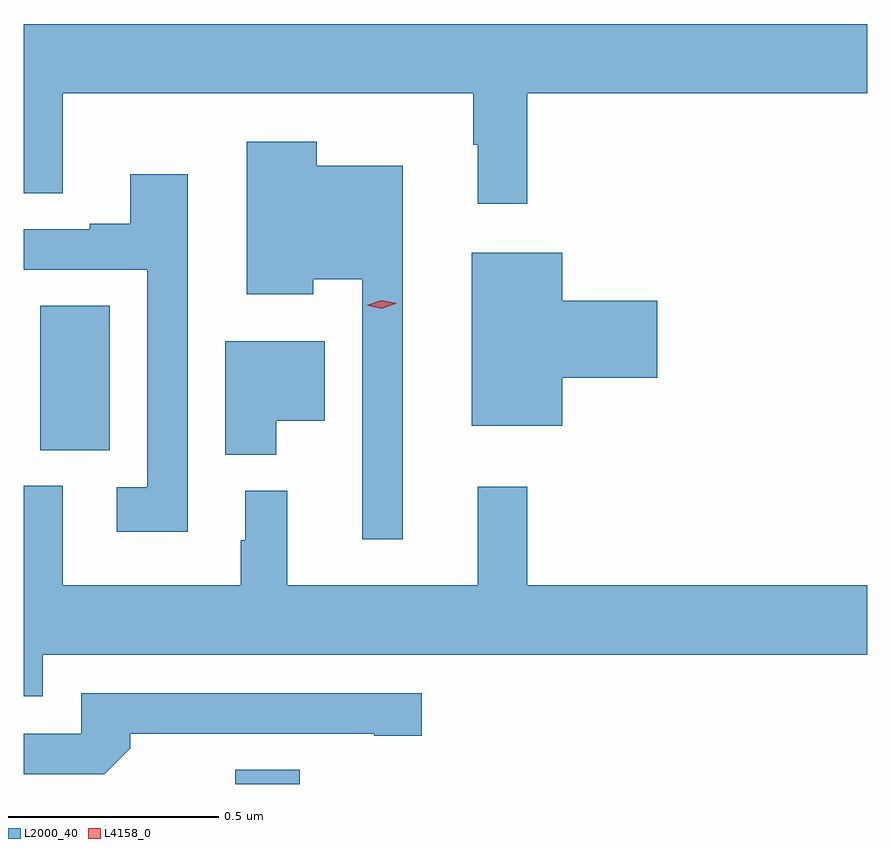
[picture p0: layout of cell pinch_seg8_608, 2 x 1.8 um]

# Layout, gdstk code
import gdstk
lib = gdstk.Library(unit=1e-6, precision=1e-09)
def R(c, l, rs):  # rectangles x0, y0, x1, y1
    for r in rs: c.add(gdstk.rectangle(r[:2], r[2:], *l))
def P(c, l, *ps):  # polygons
    for p in ps: c.add(gdstk.Polygon(p, *l))
L2000_40 = (2000, 40)
L4158_0 = (4158, 0)

pinch_seg8_608 = lib.new_cell('pinch_seg8_608')
R(pinch_seg8_608, L2000_40, [(118.76,1085.557,118.913,1085.591), (118.298,1086.349,118.462,1086.692)])
P(pinch_seg8_608, L2000_40, [(119.453,1087.196),(120.259,1087.196),(120.259,1087.36),(118.259,1087.36),(118.259,1086.958),(118.351,1086.958),(118.351,1087.196),(119.325,1087.196),(119.325,1087.073),(119.336,1087.073),(119.336,1086.933),(119.453,1086.933)],
  [(119.158,1087.024),(118.953,1087.024),(118.953,1087.081),(118.787,1087.081),(118.787,1086.719),(118.945,1086.719),(118.945,1086.755),(119.061,1086.755),(119.061,1086.138),(119.158,1086.138)],
  [(118.647,1086.78),(118.648,1086.78),(118.648,1087.003),(118.511,1087.003),(118.511,1086.886),(118.415,1086.886),(118.415,1086.873),(118.259,1086.873),(118.259,1086.777),(118.551,1086.777),(118.551,1086.261),(118.479,1086.261),(118.479,1086.156),(118.647,1086.156)],
  [(119.536,1086.521),(119.761,1086.521),(119.761,1086.704),(119.536,1086.704),(119.536,1086.817),(119.321,1086.817),(119.321,1086.407),(119.536,1086.407)],
  [(118.858,1086.419),(118.972,1086.419),(118.972,1086.607),(118.736,1086.607),(118.736,1086.338),(118.858,1086.338)],
  [(118.303,1085.864),(120.259,1085.864),(120.259,1086.028),(119.453,1086.028),(119.453,1086.262),(119.336,1086.262),(119.336,1086.028),(118.883,1086.028),(118.883,1086.253),(118.784,1086.253),(118.784,1086.135),(118.773,1086.135),(118.773,1086.028),(118.351,1086.028),(118.351,1086.264),(118.259,1086.264),(118.259,1085.765),(118.303,1085.765)],
  [(118.511,1085.642),(118.511,1085.676),(119.09,1085.676),(119.09,1085.671),(119.203,1085.671),(119.203,1085.772),(118.395,1085.772),(118.395,1085.676),(118.259,1085.676),(118.259,1085.58),(118.449,1085.58)])
P(pinch_seg8_608, L4158_0, [(119.108,1086.685),(119.072,1086.693),(119.072,1086.693),(119.072,1086.693),(119.107,1086.705),(119.143,1086.697),(119.143,1086.697),(119.143,1086.697)])

lib.write_gds('pinch_seg8_608.gds')
